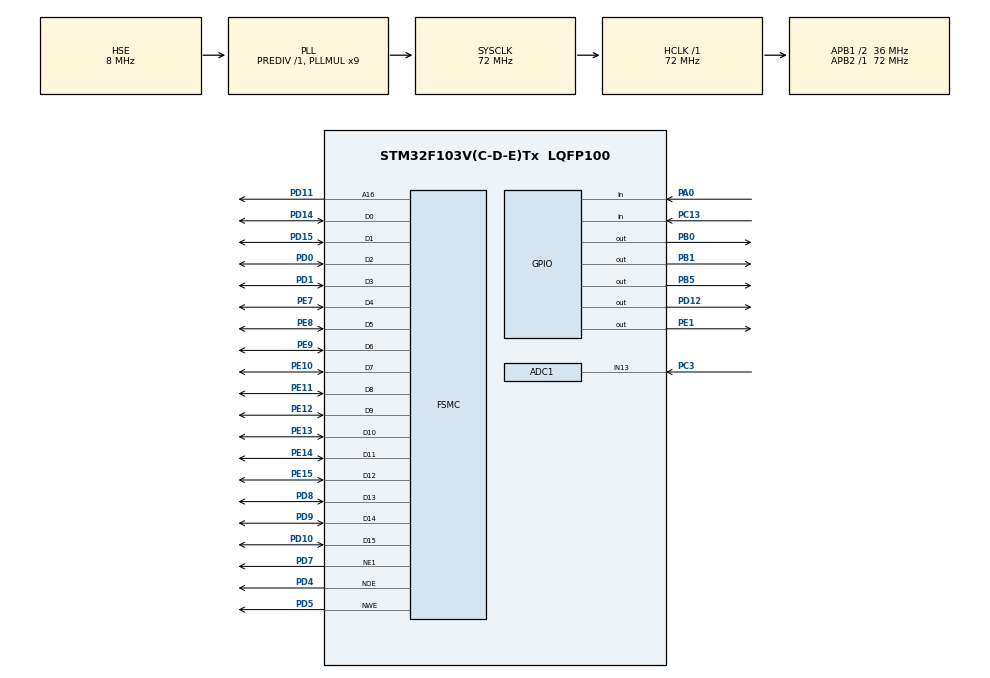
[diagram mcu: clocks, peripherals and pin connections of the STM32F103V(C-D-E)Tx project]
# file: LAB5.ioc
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ADC1.Channel-0\#ChannelRegularConversion=ADC_CHANNEL_13
ADC1.NbrOfConversionFlag=1
ADC1.Rank-0\#ChannelRegularConversion=1
ADC1.SamplingTime-0\#ChannelRegularConversion=ADC_SAMPLETIME_55CYCLES_5
ADC1.master=1
ADC2.Channel-0\#ChannelRegularConversion=ADC_CHANNEL_13
ADC2.ContinuousConvMode=ENABLE
ADC2.NbrOfConversionFlag=1
ADC2.Rank-0\#ChannelRegularConversion=1
ADC2.SamplingTime-0\#ChannelRegularConversion=ADC_SAMPLETIME_1CYCLE_5
Mcu.Family=STM32F1
Mcu.Name=STM32F103V(C-D-E)Tx
Mcu.Package=LQFP100
NVIC.PriorityGroup=NVIC_PRIORITYGROUP_4
OSC_IN.Mode=HSE-External-Oscillator
OSC_IN.Signal=RCC_OSC_IN
OSC_OUT.Mode=HSE-External-Oscillator
OSC_OUT.Signal=RCC_OSC_OUT
PA0-WKUP.Signal=GPIO_Input
PA13.Mode=Serial_Wire
PA13.Signal=SYS_JTMS-SWDIO
PA14.Mode=Serial_Wire
PA14.Signal=SYS_JTCK-SWCLK
PB0.GPIO_PuPd=GPIO_NOPULL
PB0.GPIO_Speed=GPIO_SPEED_FREQ_HIGH
PB0.PinState=GPIO_PIN_SET
PB0.Signal=GPIO_Output
PB1.GPIO_Speed=GPIO_SPEED_FREQ_HIGH
PB1.PinState=GPIO_PIN_SET
PB1.Signal=GPIO_Output
PB5.GPIO_Speed=GPIO_SPEED_FREQ_HIGH
PB5.PinState=GPIO_PIN_SET
PB5.Signal=GPIO_Output
PC13-TAMPER-RTC.Signal=GPIO_Input
PC14-OSC32_IN.Mode=LSE-External-Oscillator
PC14-OSC32_IN.Signal=RCC_OSC32_IN
PC15-OSC32_OUT.Mode=LSE-External-Oscillator
PC15-OSC32_OUT.Signal=RCC_OSC32_OUT
PC3.Signal=ADCx_IN13
PD0.Mode=16b-d1
PD0.Signal=FSMC_D2
PD1.Mode=16b-d1
PD1.Signal=FSMC_D3
PD10.Mode=16b-d1
PD10.Signal=FSMC_D15
PD11.Mode=A16_1
PD11.Signal=FSMC_A16
PD12.GPIO_Speed=GPIO_SPEED_FREQ_HIGH
PD12.Signal=GPIO_Output
PD14.Mode=16b-d1
PD14.Signal=FSMC_D0
PD15.Mode=16b-d1
PD15.Signal=FSMC_D1
PD4.Mode=Lcd1
PD4.Signal=FSMC_NOE
PD5.Mode=Lcd1
PD5.Signal=FSMC_NWE
PD7.Mode=NorPsramChipSelect1_1
PD7.Signal=FSMC_NE1
PD8.Mode=16b-d1
PD8.Signal=FSMC_D13
PD9.Mode=16b-d1
PD9.Signal=FSMC_D14
PE1.GPIO_Speed=GPIO_SPEED_FREQ_HIGH
PE1.Signal=GPIO_Output
PE10.Mode=16b-d1
PE10.Signal=FSMC_D7
PE11.Mode=16b-d1
PE11.Signal=FSMC_D8
PE12.Mode=16b-d1
PE12.Signal=FSMC_D9
PE13.Mode=16b-d1
PE13.Signal=FSMC_D10
PE14.Mode=16b-d1
PE14.Signal=FSMC_D11
PE15.Mode=16b-d1
PE15.Signal=FSMC_D12
PE7.Mode=16b-d1
PE7.Signal=FSMC_D4
PE8.Mode=16b-d1
PE8.Signal=FSMC_D5
PE9.Mode=16b-d1
PE9.Signal=FSMC_D6
ProjectManager.HeapSize=0x200
ProjectManager.StackSize=0x400
ProjectManager.TargetToolchain=STM32CubeIDE
RCC.ADCPresc=RCC_ADCPCLK2_DIV6
RCC.AHBFreq_Value=72000000
RCC.APB1CLKDivider=RCC_HCLK_DIV2
RCC.APB1Freq_Value=36000000
RCC.APB1TimFreq_Value=72000000
RCC.APB2Freq_Value=72000000
RCC.APB2TimFreq_Value=72000000
RCC.HCLKFreq_Value=72000000
RCC.PLLMUL=RCC_PLL_MUL9
RCC.PLLSourceVirtual=RCC_PLLSOURCE_HSE
RCC.SYSCLKFreq_VALUE=72000000
RCC.SYSCLKSource=RCC_SYSCLKSOURCE_PLLCLK
RCC.USBFreq_Value=72000000
SH.ADCx_IN13.0=ADC1_IN13,IN13
SH.ADCx_IN13.1=ADC2_IN13,IN13
board=custom

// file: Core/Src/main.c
/* USER CODE BEGIN Header */
/**
  ******************************************************************************
  * @file           : main.c
  * @brief          : Main program body
  ******************************************************************************
  * @attention
  *
  * Copyright (c) 2022 STMicroelectronics.
  * All rights reserved.
  *
  * This software is licensed under terms that can be found in the LICENSE file
  * in the root directory of this software component.
  * If no LICENSE file comes with this software, it is provided AS-IS.
  *
  ******************************************************************************
  */
/* USER CODE END Header */
#include "main.h"

/* USER CODE BEGIN Includes */
#include "lcd.h"
/* USER CODE END Includes */

ADC_HandleTypeDef hadc1;
ADC_HandleTypeDef hadc2;

SRAM_HandleTypeDef hsram1;

void SystemClock_Config(void);
static void MX_GPIO_Init(void);
static void MX_FSMC_Init(void);
static void MX_ADC1_Init(void);
static void MX_ADC2_Init(void);

int main(void)
{

  /* MCU Configuration--------------------------------------------------------*/

  /* Reset of all peripherals, Initializes the Flash interface and the Systick. */
  HAL_Init();

  /* Configure the system clock */
  SystemClock_Config();

  /* Initialize all configured peripherals */
  MX_GPIO_Init();
  MX_FSMC_Init();
  MX_ADC1_Init();
  MX_ADC2_Init();
  /* USER CODE BEGIN 2 */
  LCD_INIT();
  /* USER CODE END 2 */

  /* Infinite loop */
  /* USER CODE BEGIN WHILE */

  HAL_ADCEx_Calibration_Start(&hadc1);
  HAL_ADCEx_Calibration_Start(&hadc2);

  uint32_t last_tick = HAL_GetTick();
  uint32_t prev_SR = 0, prev_LR = 0;
  uint32_t now_SR = 0, now_LR = 0;
  uint8_t screen_state = 0;
  uint8_t btn_k2_pressed = 0;
  char buff[120];

  uint32_t res = 1234;
  uint32_t res2 = 1234;
  /**
   * screen_state
   * 0 = normal
   * 1 = name
   * 2 = image
   */
  HAL_ADC_Start(&hadc2);
  while (1)
  {
  //	  LCD_Clear(0, 0, 240, 320, BACKGROUND);
  //	  if (HAL_GetTick() - last_tick > 1000) {
  //		  last_tick = HAL_GetTick();
  //	  }

	  if (HAL_GPIO_ReadPin(GPIOC, GPIO_PIN_13) == GPIO_PIN_SET) {
		  if (!btn_k2_pressed) {
			  btn_k2_pressed = 1;

			  HAL_ADC_Start(&hadc1);
			  HAL_ADC_PollForConversion(&hadc1, 1000);
			  res = HAL_ADC_GetValue(&hadc1);
			  HAL_ADC_Stop(&hadc1);

		  }
	  } else {
		  btn_k2_pressed = 0;
	  }

	  sprintf(buff, "Value: %4d %4x", res, res);
	  LCD_DrawString(0, 0, buff);

	  res2 = HAL_ADC_GetValue(&hadc2);
	  sprintf(buff, "Value: %4d %4x", res2, res2);
	  LCD_DrawString(0, 100, buff);

	  if (res2 > 850*3.3/5) {
		  HAL_GPIO_WritePin(GPIOB, GPIO_PIN_0, GPIO_PIN_RESET);
		  HAL_GPIO_WritePin(GPIOB, GPIO_PIN_1, GPIO_PIN_RESET);
		  HAL_GPIO_WritePin(GPIOB, GPIO_PIN_5, GPIO_PIN_RESET);
	  } else if (res2 > 700*3.3/5) {
		  HAL_GPIO_WritePin(GPIOB, GPIO_PIN_0, GPIO_PIN_RESET);
		  HAL_GPIO_WritePin(GPIOB, GPIO_PIN_1, GPIO_PIN_SET);
		  HAL_GPIO_WritePin(GPIOB, GPIO_PIN_5, GPIO_PIN_SET);
	  } else if (res2 > 500*3.3/5) {
		  HAL_GPIO_WritePin(GPIOB, GPIO_PIN_0, GPIO_PIN_SET);
		  HAL_GPIO_WritePin(GPIOB, GPIO_PIN_1, GPIO_PIN_RESET);
		  HAL_GPIO_WritePin(GPIOB, GPIO_PIN_5, GPIO_PIN_SET);
	  } else if (res2 > 250*3.3/5) {
		  HAL_GPIO_WritePin(GPIOB, GPIO_PIN_0, GPIO_PIN_SET);
		  HAL_GPIO_WritePin(GPIOB, GPIO_PIN_1, GPIO_PIN_SET);
		  HAL_GPIO_WritePin(GPIOB, GPIO_PIN_5, GPIO_PIN_RESET);
	  } else {
		  HAL_GPIO_WritePin(GPIOB, GPIO_PIN_0, GPIO_PIN_SET);
		  HAL_GPIO_WritePin(GPIOB, GPIO_PIN_1, GPIO_PIN_SET);
		  HAL_GPIO_WritePin(GPIOB, GPIO_PIN_5, GPIO_PIN_SET);
	  }

    /* USER CODE END WHILE */

  }
}

void SystemClock_Config(void)
{
  RCC_OscInitTypeDef RCC_OscInitStruct = {0};
  RCC_ClkInitTypeDef RCC_ClkInitStruct = {0};
  RCC_PeriphCLKInitTypeDef PeriphClkInit = {0};

  /** Initializes the RCC Oscillators according to the specified parameters
  * in the RCC_OscInitTypeDef structure.
  */
  RCC_OscInitStruct.OscillatorType = RCC_OSCILLATORTYPE_HSE;
  RCC_OscInitStruct.HSEState = RCC_HSE_ON;
  RCC_OscInitStruct.HSEPredivValue = RCC_HSE_PREDIV_DIV1;
  RCC_OscInitStruct.HSIState = RCC_HSI_ON;
  RCC_OscInitStruct.PLL.PLLState = RCC_PLL_ON;
  RCC_OscInitStruct.PLL.PLLSource = RCC_PLLSOURCE_HSE;
  RCC_OscInitStruct.PLL.PLLMUL = RCC_PLL_MUL9;
  if (HAL_RCC_OscConfig(&RCC_OscInitStruct) != HAL_OK)
  {
    Error_Handler();
  }

  /** Initializes the CPU, AHB and APB buses clocks
  */
  RCC_ClkInitStruct.ClockType = RCC_CLOCKTYPE_HCLK|RCC_CLOCKTYPE_SYSCLK
                              |RCC_CLOCKTYPE_PCLK1|RCC_CLOCKTYPE_PCLK2;
  RCC_ClkInitStruct.SYSCLKSource = RCC_SYSCLKSOURCE_PLLCLK;
  RCC_ClkInitStruct.AHBCLKDivider = RCC_SYSCLK_DIV1;
  RCC_ClkInitStruct.APB1CLKDivider = RCC_HCLK_DIV2;
  RCC_ClkInitStruct.APB2CLKDivider = RCC_HCLK_DIV1;

  if (HAL_RCC_ClockConfig(&RCC_ClkInitStruct, FLASH_LATENCY_2) != HAL_OK)
  {
    Error_Handler();
  }
  PeriphClkInit.PeriphClockSelection = RCC_PERIPHCLK_ADC;
  PeriphClkInit.AdcClockSelection = RCC_ADCPCLK2_DIV6;
  if (HAL_RCCEx_PeriphCLKConfig(&PeriphClkInit) != HAL_OK)
  {
    Error_Handler();
  }
}

static void MX_ADC1_Init(void)
{

  ADC_ChannelConfTypeDef sConfig = {0};

  /** Common config
  */
  hadc1.Instance = ADC1;
  hadc1.Init.ScanConvMode = ADC_SCAN_DISABLE;
  hadc1.Init.ContinuousConvMode = DISABLE;
  hadc1.Init.DiscontinuousConvMode = DISABLE;
  hadc1.Init.ExternalTrigConv = ADC_SOFTWARE_START;
  hadc1.Init.DataAlign = ADC_DATAALIGN_RIGHT;
  hadc1.Init.NbrOfConversion = 1;
  if (HAL_ADC_Init(&hadc1) != HAL_OK)
  {
    Error_Handler();
  }

  /** Configure Regular Channel
  */
  sConfig.Channel = ADC_CHANNEL_13;
  sConfig.Rank = ADC_REGULAR_RANK_1;
  sConfig.SamplingTime = ADC_SAMPLETIME_55CYCLES_5;
  if (HAL_ADC_ConfigChannel(&hadc1, &sConfig) != HAL_OK)
  {
    Error_Handler();
  }

}

static void MX_ADC2_Init(void)
{

  ADC_ChannelConfTypeDef sConfig = {0};

  /** Common config
  */
  hadc2.Instance = ADC2;
  hadc2.Init.ScanConvMode = ADC_SCAN_DISABLE;
  hadc2.Init.ContinuousConvMode = ENABLE;
  hadc2.Init.DiscontinuousConvMode = DISABLE;
  hadc2.Init.ExternalTrigConv = ADC_SOFTWARE_START;
  hadc2.Init.DataAlign = ADC_DATAALIGN_RIGHT;
  hadc2.Init.NbrOfConversion = 1;
  if (HAL_ADC_Init(&hadc2) != HAL_OK)
  {
    Error_Handler();
  }

  /** Configure Regular Channel
  */
  sConfig.Channel = ADC_CHANNEL_13;
  sConfig.Rank = ADC_REGULAR_RANK_1;
  sConfig.SamplingTime = ADC_SAMPLETIME_1CYCLE_5;
  if (HAL_ADC_ConfigChannel(&hadc2, &sConfig) != HAL_OK)
  {
    Error_Handler();
  }

}

static void MX_GPIO_Init(void)
{
  GPIO_InitTypeDef GPIO_InitStruct = {0};

  /* GPIO Ports Clock Enable */
  __HAL_RCC_GPIOC_CLK_ENABLE();
  __HAL_RCC_GPIOA_CLK_ENABLE();
  __HAL_RCC_GPIOB_CLK_ENABLE();
  __HAL_RCC_GPIOE_CLK_ENABLE();
  __HAL_RCC_GPIOD_CLK_ENABLE();

  /*Configure GPIO pin Output Level */
  HAL_GPIO_WritePin(GPIOB, GPIO_PIN_0|GPIO_PIN_1|GPIO_PIN_5, GPIO_PIN_SET);

  /*Configure GPIO pin Output Level */
  HAL_GPIO_WritePin(GPIOD, GPIO_PIN_12, GPIO_PIN_RESET);

  /*Configure GPIO pin Output Level */
  HAL_GPIO_WritePin(GPIOE, GPIO_PIN_1, GPIO_PIN_RESET);

  /*Configure GPIO pin : PC13 */
  GPIO_InitStruct.Pin = GPIO_PIN_13;
  GPIO_InitStruct.Mode = GPIO_MODE_INPUT;
  GPIO_InitStruct.Pull = GPIO_NOPULL;
  HAL_GPIO_Init(GPIOC, &GPIO_InitStruct);

  /*Configure GPIO pin : PA0 */
  GPIO_InitStruct.Pin = GPIO_PIN_0;
  GPIO_InitStruct.Mode = GPIO_MODE_INPUT;
  GPIO_InitStruct.Pull = GPIO_NOPULL;
  HAL_GPIO_Init(GPIOA, &GPIO_InitStruct);

  /*Configure GPIO pins : PB0 PB1 PB5 */
  GPIO_InitStruct.Pin = GPIO_PIN_0|GPIO_PIN_1|GPIO_PIN_5;
  GPIO_InitStruct.Mode = GPIO_MODE_OUTPUT_PP;
  GPIO_InitStruct.Pull = GPIO_NOPULL;
  GPIO_InitStruct.Speed = GPIO_SPEED_FREQ_HIGH;
  HAL_GPIO_Init(GPIOB, &GPIO_InitStruct);

  /*Configure GPIO pin : PD12 */
  GPIO_InitStruct.Pin = GPIO_PIN_12;
  GPIO_InitStruct.Mode = GPIO_MODE_OUTPUT_PP;
  GPIO_InitStruct.Pull = GPIO_NOPULL;
  GPIO_InitStruct.Speed = GPIO_SPEED_FREQ_HIGH;
  HAL_GPIO_Init(GPIOD, &GPIO_InitStruct);

  /*Configure GPIO pin : PE1 */
  GPIO_InitStruct.Pin = GPIO_PIN_1;
  GPIO_InitStruct.Mode = GPIO_MODE_OUTPUT_PP;
  GPIO_InitStruct.Pull = GPIO_NOPULL;
  GPIO_InitStruct.Speed = GPIO_SPEED_FREQ_HIGH;
  HAL_GPIO_Init(GPIOE, &GPIO_InitStruct);

}

/* FSMC initialization function */
static void MX_FSMC_Init(void)
{

  FSMC_NORSRAM_TimingTypeDef Timing = {0};

  /** Perform the SRAM1 memory initialization sequence
  */
  hsram1.Instance = FSMC_NORSRAM_DEVICE;
  hsram1.Extended = FSMC_NORSRAM_EXTENDED_DEVICE;
  /* hsram1.Init */
  hsram1.Init.NSBank = FSMC_NORSRAM_BANK1;
  hsram1.Init.DataAddressMux = FSMC_DATA_ADDRESS_MUX_DISABLE;
  hsram1.Init.MemoryType = FSMC_MEMORY_TYPE_SRAM;
  hsram1.Init.MemoryDataWidth = FSMC_NORSRAM_MEM_BUS_WIDTH_16;
  hsram1.Init.BurstAccessMode = FSMC_BURST_ACCESS_MODE_DISABLE;
  hsram1.Init.WaitSignalPolarity = FSMC_WAIT_SIGNAL_POLARITY_LOW;
  hsram1.Init.WrapMode = FSMC_WRAP_MODE_DISABLE;
  hsram1.Init.WaitSignalActive = FSMC_WAIT_TIMING_BEFORE_WS;
  hsram1.Init.WriteOperation = FSMC_WRITE_OPERATION_ENABLE;
  hsram1.Init.WaitSignal = FSMC_WAIT_SIGNAL_DISABLE;
  hsram1.Init.ExtendedMode = FSMC_EXTENDED_MODE_DISABLE;
  hsram1.Init.AsynchronousWait = FSMC_ASYNCHRONOUS_WAIT_DISABLE;
  hsram1.Init.WriteBurst = FSMC_WRITE_BURST_DISABLE;
  /* Timing */
  Timing.AddressSetupTime = 15;
  Timing.AddressHoldTime = 15;
  Timing.DataSetupTime = 255;
  Timing.BusTurnAroundDuration = 15;
  Timing.CLKDivision = 16;
  Timing.DataLatency = 17;
  Timing.AccessMode = FSMC_ACCESS_MODE_A;
  /* ExtTiming */

  if (HAL_SRAM_Init(&hsram1, &Timing, NULL) != HAL_OK)
  {
    Error_Handler( );
  }

  /** Disconnect NADV
  */

  __HAL_AFIO_FSMCNADV_DISCONNECTED();

}

void Error_Handler(void)
{
  __disable_irq();
  while (1)
  {
  }
}
